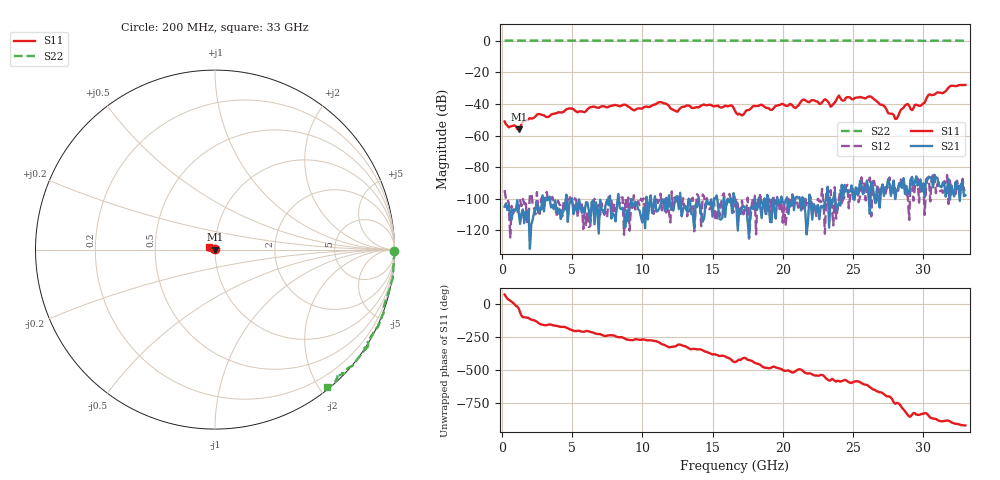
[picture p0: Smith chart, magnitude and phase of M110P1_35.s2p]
# GHZ S RI R 50
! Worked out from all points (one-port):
!   329 points, 200 MHz to 33 GHz, reference 50 ohm
!   lowest |S11| = -56.1 dB at 1.2 GHz (marker M1), VSWR 1.00, Z = 50.1 - j0.0857 ohm
!   |S11| at or under -10 dB: start of sweep to end of sweep
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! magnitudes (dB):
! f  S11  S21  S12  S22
! 200 MHz  -51.1  -105.0  -94.4  0.0
! 1.2 GHz  -56.1  -108.1  -106.4  0.0
! 2.6 GHz  -46.4  -109.0  -107.3  0.0
! 5.7 GHz  -44.8  -108.8  -103.6  0.0
! 11.2 GHz  -39.0  -106.3  -101.1  -0.1
! 12.5 GHz  -45.0  -98.3  -101.7  -0.1
! 14.4 GHz  -40.4  -112.5  -98.6  0.0
! 16.6 GHz  -44.4  -100.2  -104.9  0.0
! 17.1 GHz  -47.3  -105.8  -101.2  0.0
! 17.9 GHz  -41.4  -106.6  -99.0  0.0
! 20.9 GHz  -42.6  -99.4  -102.3  -0.1
! 22.1 GHz  -37.7  -113.1  -105.9  0.0
! 23 GHz  -37.1  -102.1  -122.1  0.0
! 23.4 GHz  -41.7  -100.3  -94.5  0.0
! 24 GHz  -34.7  -102.6  -99.9  0.0
! 26.2 GHz  -35.3  -109.5  -86.6  0.0
! 27.6 GHz  -46.1  -90.6  -86.5  -0.1
! 28.1 GHz  -49.4  -94.5  -96.1  -0.1
! 28.8 GHz  -40.4  -91.8  -97.3  0.0
! 29.2 GHz  -44.0  -86.1  -86.6  -0.1
! 30.4 GHz  -34.1  -86.0  -86.9  -0.2
! 33 GHz  -28.0  -97.7  -94.4  -0.1
